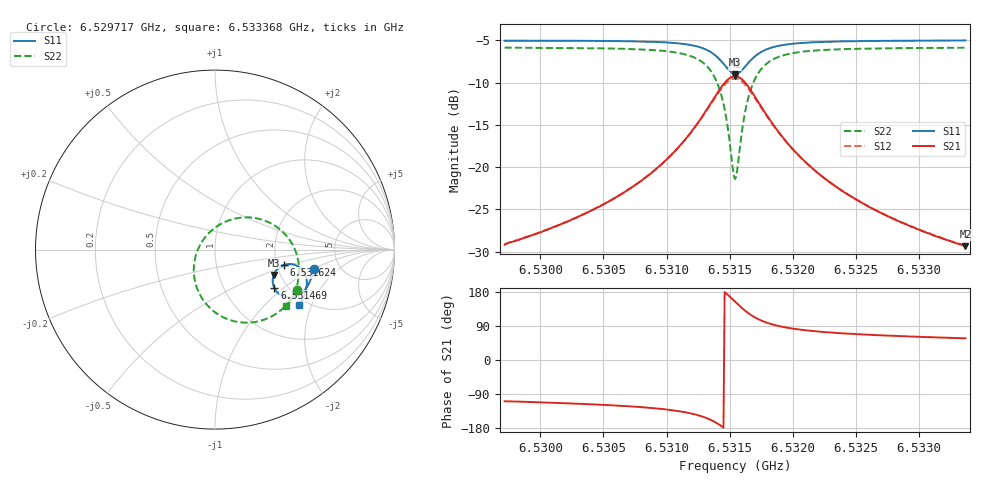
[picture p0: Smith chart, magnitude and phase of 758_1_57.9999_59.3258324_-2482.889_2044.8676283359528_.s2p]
#  HZ  S  RI  R  50.00
! Rohde & Schwarz Vector Network Analyzer
! Rohde-Schwarz,ZNB20-2Port,1311601062101988,3.16
! Created: UTC 3/21/2024, 1:24:16 AM
! freq[Hz]  re:S11  im:S11  re:S21  im:S21  re:S12  im:S12  re:S22  im:S22
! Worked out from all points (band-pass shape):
!   401 points, 6.529717 GHz to 6.533368 GHz, reference 50 ohm
!   highest |S21| = -9.23 dB at 6.531542 GHz (marker M1); lowest = -29.4 dB at 6.533368 GHz (marker M2)
!   |S21| within 3 dB of the highest: 6.53136 GHz to 6.531724 GHz (364.9 kHz wide, 0.00559 % of centre)
!   lowest |S11| = -9.0 dB at 6.531542 GHz (marker M3), VSWR 2.11, Z = 92.4 - j29.8 ohm
!   |S11| at or under -10 dB: nowhere
!   |S22| runs from -21.4 to -5.9 dB; largest |S21 - S12| = 0.015
!   S11 on the Smith chart (normalised r, x): 6.529717 GHz: 3.20, -1.00; 6.531469 GHz: 1.71, -0.87; 6.531624 GHz: 2.20, -0.44; 6.533368 GHz: 1.81, -1.64
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6.5297168e9  0.5497 -0.1073  -0.0112 -0.0328  -0.012 -0.0328  0.4559 -0.2268
6.5303284e9  0.5355 -0.1591  -0.0225 -0.0467  -0.0239 -0.0462  0.4183 -0.2848
6.530657e9  0.5224 -0.1908  -0.0365 -0.06  -0.0381 -0.0591  0.3821 -0.3244
6.5309399e9  0.5023 -0.2229  -0.0628 -0.0789  -0.065 -0.0769  0.3234 -0.3678
6.5311498e9  0.471 -0.251  -0.1087 -0.0978  -0.1116 -0.0936  0.2314 -0.4019
6.5313141e9  0.4173 -0.2671  -0.1924 -0.0986  -0.1942 -0.09  0.08 -0.3911
6.5314054e9  0.3663 -0.2531  -0.2706 -0.0577  -0.2675 -0.0459  -0.0465 -0.306
6.5314419e9  0.3443 -0.2347  -0.3022 -0.0197  -0.2956 -0.00788  -0.0917 -0.236
6.5314693e9  0.3307 -0.2141  -0.3203 0.0192  -0.3108 0.0301  -0.1133 -0.1674
6.5315241e9  0.3224 -0.1597  -0.3232 0.1169  -0.3095 0.122  -0.0985 -0.00733
6.5315423e9  0.3273 -0.1406  -0.3112 0.1498  -0.2972 0.1524  -0.0725 0.0441
6.5315606e9  0.336 -0.1231  -0.2929 0.1797  -0.2795 0.18  -0.0372 0.0892
6.5315971e9  0.3625 -0.0962  -0.2428 0.2247  -0.232 0.2214  0.0526 0.1532
6.5316245e9  0.386 -0.0847  -0.2004 0.2431  -0.1919 0.2383  0.1255 0.1756
6.531661e9  0.4165 -0.0802  -0.1468 0.2496  -0.1412 0.2446  0.2155 0.177
6.5316975e9  0.4425 -0.0845  -0.1022 0.2426  -0.0988 0.2381  0.2889 0.1567
6.531807e9  0.4887 -0.1161  -0.0239 0.1945  -0.0226 0.1925  0.4132 0.0576
6.5319348e9  0.5072 -0.1522  0.00902 0.1451  0.0102 0.1443  0.4589 -0.0398
6.5321539e9  0.5114 -0.1949  0.0228 0.0958  0.024 0.0954  0.4675 -0.1402
6.5324277e9  0.5048 -0.2306  0.0241 0.0652  0.025 0.0649  0.454 -0.2084
6.5327654e9  0.4928 -0.2634  0.022 0.0456  0.0229 0.0454  0.4333 -0.2592
6.5333678e9  0.4681 -0.3101  0.0183 0.0287  0.0191 0.0283  0.3979 -0.3165
